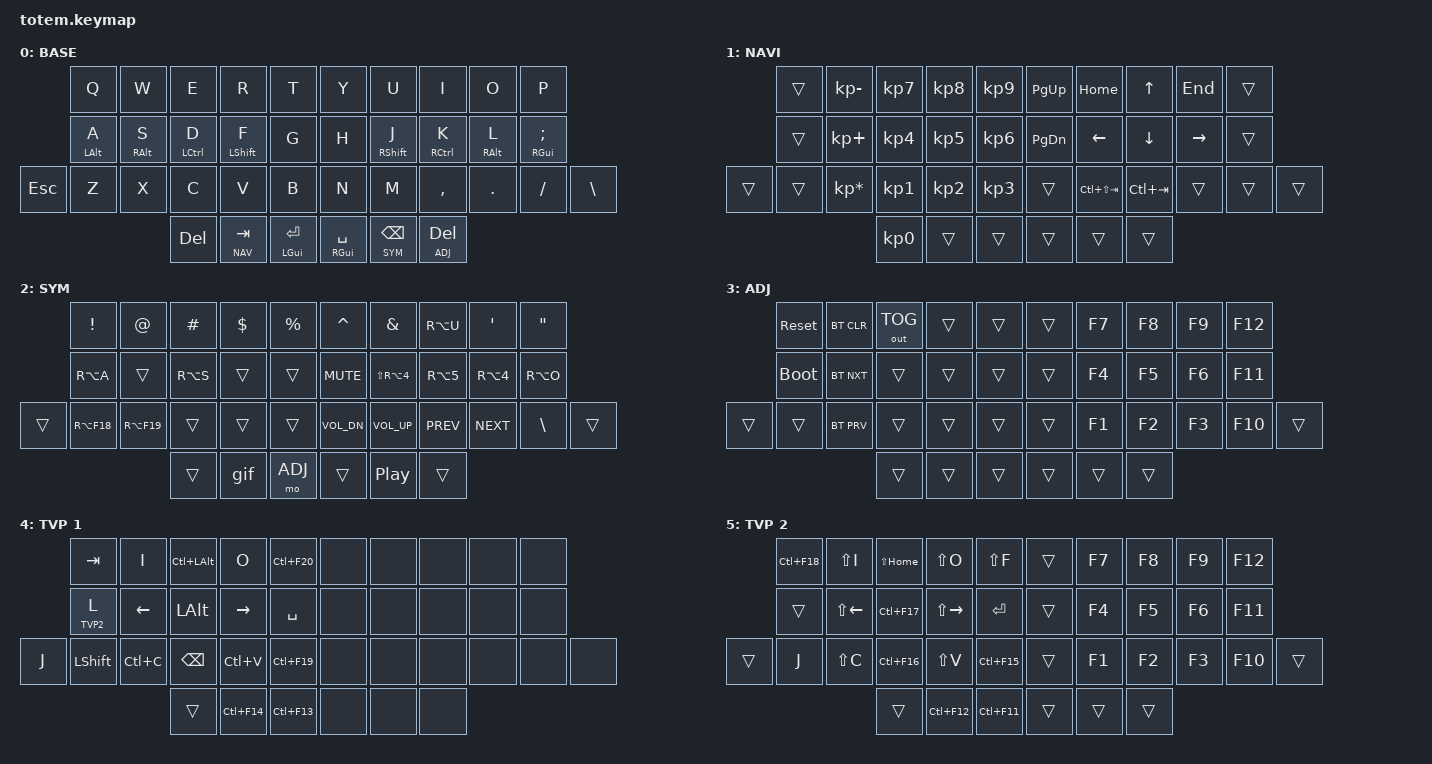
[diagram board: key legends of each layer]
//
//                                                        ▀▀▀▀▀     ▀▀▀▀▀          ▀▀█▀▀
//                                                        ▄▀▀▀▄  ▄  ▄▀▀▀▄  ▄  ▄▀▀▀▄  █  ▄▀▀▀▄
//                                                        █   █  █  █   █  █  █   █  █  █   █
//                                                         ▀▀▀   █   ▀▀▀   █   ▀▀▀   ▀   ▀▀▀
//                                                               █      ▄▄▄█▄▄▄    █   █  
//                                                               ▀      █  █  █     █▄█
//                                                             ▀▀▀▀▀    █  █  █      ▀
//                                                                      ▀  ▀  ▀
//
// ▄▄▄▄▄▄▄▄▄▄▄▄▄▄▄▄▄▄▄▄▄▄▄▄▄▄▄▄▄▄▄▄▄▄▄▄▄▄▄▄▄▄▄▄▄▄▄▄▄▄▄▄▄▄▄▄▄▄▄▄▄▄▄▄▄▄▄▄▄▄▄▄▄▄▄▄▄▄▄▄▄▄▄▄▄▄▄▄▄▄▄▄▄▄▄▄▄▄▄▄▄▄▄▄▄▄▄▄▄▄▄▄▄▄▄▄▄▄▄▄▄▄▄▄▄▄▄▄▄▄▄▄▄▄▄▄▄▄▄▄▄▄▄▄▄▄▄▄▄
       

#include <behaviors.dtsi>
#include <dt-bindings/zmk/keys.h>
#include <dt-bindings/zmk/bt.h>
#include <dt-bindings/zmk/outputs.h>

#define BASE 0
#define NAV  1
#define SYM  2
#define ADJ  3
#define TVP1 4
#define TVP2 5

&mt {
  quick-tap-ms = <100>;
  global-quick-tap;
  flavor = "tap-preferred";
  tapping-term-ms = <170>;
};

/ {
     combos {
            compatible = "zmk,combos";
            combo_esc {
                timeout-ms = <50>;
                key-positions = <0 1>;
                bindings = <&kp ESC>;
            };
            combo_tvp {
                timeout-ms = <100>;
                key-positions = <11 12 13>;
                bindings = <&tog TVP1>;
            };
            combo_open_rectbracket {
                timeout-ms = <50>;
                key-positions = <1 2>;
                bindings = <&kp LBKT>;
            };
            combo_close_rectbracket {
                timeout-ms = <50>;
                key-positions = <2 3>;
                bindings = <&kp RBKT>;
            };
            combo_rect_brackets_cursor_inside {
                timeout-ms = <50>;
                key-positions = <1 3>;
                bindings = <
                    &kp LBKT
                    &kp RBKT
                    &kp LEFT
                >;
            };
            combo_open_bracket {
                timeout-ms = <50>;
                key-positions = <11 12>;
                bindings = <&kp LPAR>;
            };
            combo_close_bracket {
                timeout-ms = <50>;
                key-positions = <12 13>;
                bindings = <&kp RPAR>;
            };
            combo_brackets_cursor_inside {
                timeout-ms = <50>;
                key-positions = <11 13>;
                bindings = <
                    &kp LPAR
                    &kp RPAR
                    &kp LEFT
                >;
            };
            combo_open_brace {
                timeout-ms = <50>;
                key-positions = <22 23>;
                bindings = <&kp LBRC>;
            };
            combo_close_brace {
                timeout-ms = <50>;
                key-positions = <23 24>;
                bindings = <&kp RBRC>;
            };
            combo_braces_cursor_inside {
                timeout-ms = <50>;
                key-positions = <22 24>;
                bindings = <
                    &kp LBRC
                    &kp RBRC
                    &kp LEFT
                >;
            };
    };

    macros {
        gif: gif {
            label = "giphy";
            compatible = "zmk,behavior-macro";
            #binding-cells = <0>;
            bindings
                = <&macro_press &kp LSHFT>
                , <&macro_tap &kp N2>
                , <&macro_release &kp LSHFT>
                , <&macro_tap &kp G &kp I &kp F>
                ;
        };
    };

        keymap {
                compatible = "zmk,keymap";
// ▄▄▄▄▄▄▄▄▄▄▄▄▄▄▄▄▄▄▄▄▄▄▄▄▄▄▄▄▄▄▄▄▄▄▄▄▄▄▄▄▄▄▄▄▄▄▄▄▄▄▄▄▄▄▄▄▄▄▄▄▄▄▄▄▄▄▄▄▄▄▄▄▄▄▄▄▄▄▄▄▄▄▄▄▄▄▄▄▄▄▄▄▄▄▄▄▄▄▄▄▄▄▄▄▄▄▄▄▄▄▄▄▄▄▄▄▄▄▄▄▄▄▄▄▄▄▄▄▄▄▄▄▄▄▄▄▄▄▄▄▄▄▄▄▄▄▄▄▄

                base_layer {
// ┏━━━━━━━━━━━━━━━━━━━━━━━━━━━━━━━━━━━━━━━┓
label= "BASE"                              ;
// ┗━━━━━━━━━━━━━━━━━━━━━━━━━━━━━━━━━━━━━━━┛
//             ┏━━━━━━━━━━━┳━━━━━━━━━━━┳━━━━━━━━━━━┳━━━━━━━━━━━┳━━━━━━━━━━━┓   ┏━━━━━━━━━━━┳━━━━━━━━━━━┳━━━━━━━━━━━┳━━━━━━━━━━━┳━━━━━━━━━━━┓
//             ┃     Q     ┃     W     ┃     E     ┃     R     ┃     T     ┃   ┃     Y     ┃     U     ┃     I     ┃     O     ┃     P     ┃
//             ┣━━━━━━━━━━━╋━━━━━━━━━━━╋━━━━━━━━━━━╋━━━━━━━━━━━╋━━━━━━━━━━━┫   ┣━━━━━━━━━━━╋━━━━━━━━━━━╋━━━━━━━━━━━╋━━━━━━━━━━━╋━━━━━━━━━━━┫
//             ┃     A     ┃     S     ┃     D     ┃     F     ┃     G     ┃   ┃     H     ┃     J     ┃     K     ┃     L     ┃     ;     ┃
// ┏━━━━━━━━━━━╋━━━━━━━━━━━╋━━━━━━━━━━━╋━━━━━━━━━━━╋━━━━━━━━━━━╋━━━━━━━━━━━┫   ┣━━━━━━━━━━━╋━━━━━━━━━━━╋━━━━━━━━━━━╋━━━━━━━━━━━╋━━━━━━━━━━━╋━━━━━━━━━━━┓
// ┃    ESC    ┃     Z     ┃     X     ┃     C     ┃     V     ┃     B     ┃   ┃     N     ┃     M     ┃     ,     ┃     .     ┃     /     ┃     \     ┃
// ┗━━━━━━━━━━━┻━━━━━━━━━━━┻━━━━━━━━━━━╋━━━━━━━━━━━╋━━━━━━━━━━━╋━━━━━━━━━━━┫   ┣━━━━━━━━━━━╋━━━━━━━━━━━╋━━━━━━━━━━━╋━━━━━━━━━━━┻━━━━━━━━━━━┻━━━━━━━━━━━┛
//                                     ┃    DEL    ┃    TAB    ┃   ENTER   ┃   ┃    SPC    ┃    BSPC   ┃    DEL    ┃
//                                     ┗━━━━━━━━━━━┻━━━━━━━━━━━┻━━━━━━━━━━━┛   ┗━━━━━━━━━━━┻━━━━━━━━━━━┻━━━━━━━━━━━┛
 bindings = <
// ╷           ╷           ╷           ╷           ╷           ╷           ╷   ╷           ╷           ╷           ╷           ╷           ╷           ╷

                &kp Q       &kp W       &kp E       &kp R       &kp T           &kp Y       &kp U       &kp I       &kp O       &kp P
                &mt LALT A  &mt RALT S  &mt LCTRL D &mt LSHFT F &kp G           &kp H       &mt RSHFT J &mt RCTRL K &mt RALT L  &mt RGUI SEMI
    &kp ESC       &kp Z       &kp X       &kp C       &kp V       &kp B         &kp  N       &kp M       &kp COMMA   &kp DOT     &kp FSLH    &kp BSLH
                                        &kp DEL     &lt NAV TAB &mt LGUI RET   &mt RGUI SPACE &lt SYM BSPC  &lt ADJ DEL
                        >;
                };

// ▄▄▄▄▄▄▄▄▄▄▄▄▄▄▄▄▄▄▄▄▄▄▄▄▄▄▄▄▄▄▄▄▄▄▄▄▄▄▄▄▄▄▄▄▄▄▄▄▄▄▄▄▄▄▄▄▄▄▄▄▄▄▄▄▄▄▄▄▄▄▄▄▄▄▄▄▄▄▄▄▄▄▄▄▄▄▄▄▄▄▄▄▄▄▄▄▄▄▄▄▄▄▄▄▄▄▄▄▄▄▄▄▄▄▄▄▄▄▄▄▄▄▄▄▄▄▄▄▄▄▄▄▄▄▄▄▄▄▄▄▄▄▄▄▄▄▄▄▄


                nav_layer {
// ┏━━━━━━━━━━━━━━━━━━━━━━━━━━━━━━━━━━━━━━━┓
label= "NAVI"                              ;
// ┗━━━━━━━━━━━━━━━━━━━━━━━━━━━━━━━━━━━━━━━┛
//             ┏━━━━━━━━━━━┳━━━━━━━━━━━┳━━━━━━━━━━━┳━━━━━━━━━━━┳━━━━━━━━━━━┓   ┏━━━━━━━━━━━┳━━━━━━━━━━━┳━━━━━━━━━━━┳━━━━━━━━━━━┳━━━━━━━━━━━┓
//             ┃           ┃     -     ┃     7     ┃     8     ┃     9     ┃   ┃    PgUp   ┃   HOME    ┃     UP    ┃    END    ┃           ┃
//             ┣━━━━━━━━━━━╋━━━━━━━━━━━╋━━━━━━━━━━━╋━━━━━━━━━━━╋━━━━━━━━━━━┫   ┣━━━━━━━━━━━╋━━━━━━━━━━━╋━━━━━━━━━━━╋━━━━━━━━━━━╋━━━━━━━━━━━┫
//             ┃           ┃     +     ┃     4     ┃     5     ┃     6     ┃   ┃    PgDn   ┃   Left    ┃    DOWN   ┃   RIGHT   ┃           ┃
// ┏━━━━━━━━━━━╋━━━━━━━━━━━╋━━━━━━━━━━━╋━━━━━━━━━━━╋━━━━━━━━━━━╋━━━━━━━━━━━┫   ┣━━━━━━━━━━━╋━━━━━━━━━━━╋━━━━━━━━━━━╋━━━━━━━━━━━╋━━━━━━━━━━━╋━━━━━━━━━━━┓
// ┃           ┃           ┃     *     ┃     1     ┃     2     ┃     3     ┃   ┃           ┃ PrevTab   ┃ NextTab   ┃           ┃           ┃           ┃
// ┗━━━━━━━━━━━┻━━━━━━━━━━━┻━━━━━━━━━━━╋━━━━━━━━━━━╋━━━━━━━━━━━╋━━━━━━━━━━━┫   ┣━━━━━━━━━━━╋━━━━━━━━━━━╋━━━━━━━━━━━╋━━━━━━━━━━━┻━━━━━━━━━━━┻━━━━━━━━━━━┛
//                                     ┃     0     ┃           ┃           ┃   ┃           ┃           ┃           ┃
//                                     ┗━━━━━━━━━━━┻━━━━━━━━━━━┻━━━━━━━━━━━┛   ┗━━━━━━━━━━━┻━━━━━━━━━━━┻━━━━━━━━━━━┛
 bindings = <
// ╷           ╷           ╷           ╷           ╷           ╷           ╷   ╷           ╷           ╷           ╷           ╷           ╷           ╷

                &trans      &kp KP_MINUS   &kp KP_N7 &kp KP_N8   &kp KP_N9        &kp PG_UP  &kp HOME    &kp UP       &kp END   &trans
                &trans      &kp KP_PLUS    &kp KP_N4 &kp KP_N5   &kp KP_N6        &kp PG_DN  &kp LEFT    &kp DOWN     &kp RIGHT &trans
    &trans      &trans      &kp KP_MULTIPLY &kp KP_N1 &kp KP_N2  &kp KP_N3        &trans     &kp LC(LS(TAB)) &kp LC(TAB) &trans    &trans        &trans      
                                        &kp KP_N0   &trans       &trans           &trans      &trans       &trans      
                        >;
                };

// ▄▄▄▄▄▄▄▄▄▄▄▄▄▄▄▄▄▄▄▄▄▄▄▄▄▄▄▄▄▄▄▄▄▄▄▄▄▄▄▄▄▄▄▄▄▄▄▄▄▄▄▄▄▄▄▄▄▄▄▄▄▄▄▄▄▄▄▄▄▄▄▄▄▄▄▄▄▄▄▄▄▄▄▄▄▄▄▄▄▄▄▄▄▄▄▄▄▄▄▄▄▄▄▄▄▄▄▄▄▄▄▄▄▄▄▄▄▄▄▄▄▄▄▄▄▄▄▄▄▄▄▄▄▄▄▄▄▄▄▄▄▄▄▄▄▄▄▄▄


                sim_layer {
// ┏━━━━━━━━━━━━━━━━━━━━━━━━━━━━━━━━━━━━━━━┓
label= "SYM"                               ;
// ┗━━━━━━━━━━━━━━━━━━━━━━━━━━━━━━━━━━━━━━━┛
//             ┏━━━━━━━━━━━┳━━━━━━━━━━━┳━━━━━━━━━━━┳━━━━━━━━━━━┳━━━━━━━━━━━┓   ┏━━━━━━━━━━━┳━━━━━━━━━━━┳━━━━━━━━━━━┳━━━━━━━━━━━┳━━━━━━━━━━━┓
//             ┃     !     ┃     @     ┃     #     ┃     $     ┃     %     ┃   ┃     ˆ     ┃     &     ┃     Ü     ┃     '     ┃     "     ┃
//             ┣━━━━━━━━━━━╋━━━━━━━━━━━╋━━━━━━━━━━━╋━━━━━━━━━━━╋━━━━━━━━━━━┫   ┣━━━━━━━━━━━╋━━━━━━━━━━━╋━━━━━━━━━━━╋━━━━━━━━━━━╋━━━━━━━━━━━┫
//             ┃     Ä     ┃           ┃    SZ     ┃           ┃           ┃   ┃   MUTE    ┃   YEN     ┃   EURO    ┃  POUND    ┃     Ö     ┃
// ┏━━━━━━━━━━━╋━━━━━━━━━━━╋━━━━━━━━━━━╋━━━━━━━━━━━╋━━━━━━━━━━━╋━━━━━━━━━━━┫   ┣━━━━━━━━━━━╋━━━━━━━━━━━╋━━━━━━━━━━━╋━━━━━━━━━━━╋━━━━━━━━━━━╋━━━━━━━━━━━┓
// ┃           ┃  EMAIL1   ┃  EMAIL2   ┃           ┃           ┃           ┃   ┃   VOL-    ┃   VOL+    ┃   LAST    ┃   NEXT    ┃     \     ┃           ┃
// ┗━━━━━━━━━━━┻━━━━━━━━━━━┻━━━━━━━━━━━╋━━━━━━━━━━━╋━━━━━━━━━━━╋━━━━━━━━━━━┫   ┣━━━━━━━━━━━╋━━━━━━━━━━━╋━━━━━━━━━━━╋━━━━━━━━━━━┻━━━━━━━━━━━┻━━━━━━━━━━━┛
//                                     ┃           ┃    GIF    ┃    ADJ    ┃   ┃           ┃           ┃           ┃
//                                     ┗━━━━━━━━━━━┻━━━━━━━━━━━┻━━━━━━━━━━━┛   ┗━━━━━━━━━━━┻━━━━━━━━━━━┻━━━━━━━━━━━┛
 bindings = <
// ╷           ╷           ╷           ╷           ╷           ╷           ╷   ╷           ╷           ╷           ╷           ╷           ╷           ╷

                &kp EXCL    &kp AT      &kp HASH    &kp DLLR    &kp PRCNT       &kp CARET   &kp AMPS    &kp RA(U)   &kp SQT     &kp DQT       
                &kp RA(A)   &trans      &kp RA(S)   &trans      &trans          &kp C_MUTE  &kp LS(RA(N4)) &kp RA(N5) &kp RA(N4)   &kp RA(O) 
    &trans      &kp RA(F18) &kp RA(F19) &trans      &trans      &trans          &kp C_VOL_DN &kp C_VOL_UP &kp C_PREV &kp C_NEXT  &kp BSLH   &trans         
                                        &trans      &gif        &mo ADJ         &trans      &kp C_PP    &trans      
                        >;
                };

// ▄▄▄▄▄▄▄▄▄▄▄▄▄▄▄▄▄▄▄▄▄▄▄▄▄▄▄▄▄▄▄▄▄▄▄▄▄▄▄▄▄▄▄▄▄▄▄▄▄▄▄▄▄▄▄▄▄▄▄▄▄▄▄▄▄▄▄▄▄▄▄▄▄▄▄▄▄▄▄▄▄▄▄▄▄▄▄▄▄▄▄▄▄▄▄▄▄▄▄▄▄▄▄▄▄▄▄▄▄▄▄▄▄▄▄▄▄▄▄▄▄▄▄▄▄▄▄▄▄▄▄▄▄▄▄▄▄▄▄▄▄▄▄▄▄▄▄▄▄

 
                adjust_layer {
// ┏━━━━━━━━━━━━━━━━━━━━━━━━━━━━━━━━━━━━━━━┓
label= "ADJ"                               ;
// ┗━━━━━━━━━━━━━━━━━━━━━━━━━━━━━━━━━━━━━━━┛
//             ┏━━━━━━━━━━━┳━━━━━━━━━━━┳━━━━━━━━━━━┳━━━━━━━━━━━┳━━━━━━━━━━━┓   ┏━━━━━━━━━━━┳━━━━━━━━━━━┳━━━━━━━━━━━┳━━━━━━━━━━━┳━━━━━━━━━━━┓
//             ┃   RESET   ┃ BT CLEAR  ┃  OUT TOG  ┃           ┃           ┃   ┃           ┃    F7     ┃    F8     ┃    F9     ┃    F12    ┃
//             ┣━━━━━━━━━━━╋━━━━━━━━━━━╋━━━━━━━━━━━╋━━━━━━━━━━━╋━━━━━━━━━━━┫   ┣━━━━━━━━━━━╋━━━━━━━━━━━╋━━━━━━━━━━━╋━━━━━━━━━━━╋━━━━━━━━━━━┫
//             ┃ BOOTLOAD  ┃ BT NEXT   ┃           ┃           ┃           ┃   ┃           ┃    F4     ┃    F5     ┃    F6     ┃    F11    ┃
// ┏━━━━━━━━━━━╋━━━━━━━━━━━╋━━━━━━━━━━━╋━━━━━━━━━━━╋━━━━━━━━━━━╋━━━━━━━━━━━┫   ┣━━━━━━━━━━━╋━━━━━━━━━━━╋━━━━━━━━━━━╋━━━━━━━━━━━╋━━━━━━━━━━━╋━━━━━━━━━━━┓
// ┃           ┃           ┃ BT PREV   ┃           ┃           ┃           ┃   ┃           ┃    F1     ┃    F2     ┃    F3     ┃    F10    ┃           ┃
// ┗━━━━━━━━━━━┻━━━━━━━━━━━┻━━━━━━━━━━━╋━━━━━━━━━━━╋━━━━━━━━━━━╋━━━━━━━━━━━┫   ┣━━━━━━━━━━━╋━━━━━━━━━━━╋━━━━━━━━━━━╋━━━━━━━━━━━┻━━━━━━━━━━━┻━━━━━━━━━━━┛
//                                     ┃           ┃           ┃           ┃   ┃           ┃           ┃           ┃
//                                     ┗━━━━━━━━━━━┻━━━━━━━━━━━┻━━━━━━━━━━━┛   ┗━━━━━━━━━━━┻━━━━━━━━━━━┻━━━━━━━━━━━┛
 bindings = <
// ╷           ╷           ╷           ╷           ╷           ╷           ╷   ╷           ╷           ╷           ╷           ╷           ╷           ╷

                &sys_reset  &bt BT_CLR &out OUT_TOG &trans      &trans          &trans      &kp F7      &kp F8      &kp F9      &kp F12
                &bootloader &bt BT_NXT  &trans      &trans      &trans          &trans      &kp F4      &kp F5      &kp F6      &kp F11  
    &trans      &trans      &bt BT_PRV  &trans      &trans      &trans          &trans      &kp F1      &kp F2      &kp F3      &kp F10     &trans         
                                        &trans      &trans      &trans          &trans      &trans      &trans      
                        >;
                };

// ▄▄▄▄▄▄▄▄▄▄▄▄▄▄▄▄▄▄▄▄▄▄▄▄▄▄▄▄▄▄▄▄▄▄▄▄▄▄▄▄▄▄▄▄▄▄▄▄▄▄▄▄▄▄▄▄▄▄▄▄▄▄▄▄▄▄▄▄▄▄▄▄▄▄▄▄▄▄▄▄▄▄▄▄▄▄▄▄▄▄▄▄▄▄▄▄▄▄▄▄▄▄▄▄▄▄▄▄▄▄▄▄▄▄▄▄▄▄▄▄▄▄▄▄▄▄▄▄▄▄▄▄▄▄▄▄▄▄▄▄▄▄▄▄▄▄▄▄▄


                tvp1_layer {
// ┏━━━━━━━━━━━━━━━━━━━━━━━━━━━━━━━━━━━━━━━┓
label= "TVP 1"                             ;
// ┗━━━━━━━━━━━━━━━━━━━━━━━━━━━━━━━━━━━━━━━┛
//             ┏━━━━━━━━━━━┳━━━━━━━━━━━┳━━━━━━━━━━━┳━━━━━━━━━━━┳━━━━━━━━━━━┓   ┏━━━━━━━━━━━┳━━━━━━━━━━━┳━━━━━━━━━━━┳━━━━━━━━━━━┳━━━━━━━━━━━┓
//             ┃ NEXT FILE ┃ MARK IN   ┃ ROTATE    ┃ MARK OUT  ┃ SHOW SNAP ┃   ┃           ┃           ┃           ┃           ┃           ┃
//             ┣━━━━━━━━━━━╋━━━━━━━━━━━╋━━━━━━━━━━━╋━━━━━━━━━━━╋━━━━━━━━━━━┫   ┣━━━━━━━━━━━╋━━━━━━━━━━━╋━━━━━━━━━━━╋━━━━━━━━━━━╋━━━━━━━━━━━┫
//             ┃ TVP II    ┃ LEFT      ┃ PAN       ┃ RIGHT     ┃ PLAY/FLIP ┃   ┃           ┃           ┃           ┃           ┃           ┃
// ┏━━━━━━━━━━━╋━━━━━━━━━━━╋━━━━━━━━━━━╋━━━━━━━━━━━╋━━━━━━━━━━━╋━━━━━━━━━━━┫   ┣━━━━━━━━━━━╋━━━━━━━━━━━╋━━━━━━━━━━━╋━━━━━━━━━━━╋━━━━━━━━━━━╋━━━━━━━━━━━┓
// ┃ FULLSCR   ┃ SHIFT     ┃ COPY      ┃ DELETE    ┃ PASTE     ┃ IMG MARK  ┃   ┃           ┃           ┃           ┃           ┃           ┃           ┃
// ┗━━━━━━━━━━━┻━━━━━━━━━━━┻━━━━━━━━━━━╋━━━━━━━━━━━╋━━━━━━━━━━━╋━━━━━━━━━━━┫   ┣━━━━━━━━━━━╋━━━━━━━━━━━╋━━━━━━━━━━━╋━━━━━━━━━━━┻━━━━━━━━━━━┻━━━━━━━━━━━┛
//                                     ┃           ┃ UNDO/SAVE ┃  SEL/MOV  ┃   ┃           ┃           ┃           ┃
//                                     ┗━━━━━━━━━━━┻━━━━━━━━━━━┻━━━━━━━━━━━┛   ┗━━━━━━━━━━━┻━━━━━━━━━━━┻━━━━━━━━━━━┛
 bindings = <
// ╷           ╷           ╷           ╷           ╷           ╷           ╷   ╷           ╷           ╷           ╷           ╷           ╷           ╷

                &kp TAB     &kp I       &kp LC(LALT) &kp O      &kp LC(F20)     &none       &none       &none       &none       &none
                &lt TVP2 L  &kp LEFT    &kp LALT    &kp RIGHT   &kp SPACE       &none       &none       &none       &none       &none
    &kp J       &kp LSHFT   &kp LC(C)   &kp BSPC    &kp LC(V)   &kp LC(F19)     &none       &none       &none       &none       &none       &none        
                                        &trans      &kp LC(F14) &kp LC(F13)     &none       &none       &none    
                        >;
                };

// ▄▄▄▄▄▄▄▄▄▄▄▄▄▄▄▄▄▄▄▄▄▄▄▄▄▄▄▄▄▄▄▄▄▄▄▄▄▄▄▄▄▄▄▄▄▄▄▄▄▄▄▄▄▄▄▄▄▄▄▄▄▄▄▄▄▄▄▄▄▄▄▄▄▄▄▄▄▄▄▄▄▄▄▄▄▄▄▄▄▄▄▄▄▄▄▄▄▄▄▄▄▄▄▄▄▄▄▄▄▄▄▄▄▄▄▄▄▄▄▄▄▄▄▄▄▄▄▄▄▄▄▄▄▄▄▄▄▄▄▄▄▄▄▄▄▄▄▄▄


                tvp2_layer {
// ┏━━━━━━━━━━━━━━━━━━━━━━━━━━━━━━━━━━━━━━━┓
label= "TVP 2"                             ;
// ┗━━━━━━━━━━━━━━━━━━━━━━━━━━━━━━━━━━━━━━━┛
//             ┏━━━━━━━━━━━┳━━━━━━━━━━━┳━━━━━━━━━━━┳━━━━━━━━━━━┳━━━━━━━━━━━┓   ┏━━━━━━━━━━━┳━━━━━━━━━━━┳━━━━━━━━━━━┳━━━━━━━━━━━┳━━━━━━━━━━━┓
//             ┃ SOLO      ┃ TOGGLE IN ┃ RESET ROT ┃ TOGGLE OUT┃ TAKE SNAP ┃   ┃           ┃           ┃           ┃           ┃           ┃
//             ┣━━━━━━━━━━━╋━━━━━━━━━━━╋━━━━━━━━━━━╋━━━━━━━━━━━╋━━━━━━━━━━━┫   ┣━━━━━━━━━━━╋━━━━━━━━━━━╋━━━━━━━━━━━╋━━━━━━━━━━━╋━━━━━━━━━━━┫
//             ┃ ---       ┃ LAST KEY  ┃ NEW KEY   ┃ NEXT KEY  ┃ ENTER     ┃   ┃           ┃           ┃           ┃           ┃           ┃
// ┏━━━━━━━━━━━╋━━━━━━━━━━━╋━━━━━━━━━━━╋━━━━━━━━━━━╋━━━━━━━━━━━╋━━━━━━━━━━━┫   ┣━━━━━━━━━━━╋━━━━━━━━━━━╋━━━━━━━━━━━╋━━━━━━━━━━━╋━━━━━━━━━━━╋━━━━━━━━━━━┓
// ┃           ┃ FULLSCR   ┃ CPY2BRUSH ┃ DEL HEAD  ┃ PSTinPLACE┃ BOOK MARK ┃   ┃           ┃           ┃           ┃           ┃           ┃           ┃
// ┗━━━━━━━━━━━┻━━━━━━━━━━━┻━━━━━━━━━━━╋━━━━━━━━━━━╋━━━━━━━━━━━╋━━━━━━━━━━━┫   ┣━━━━━━━━━━━╋━━━━━━━━━━━╋━━━━━━━━━━━╋━━━━━━━━━━━┻━━━━━━━━━━━┻━━━━━━━━━━━┛
//                                     ┃           ┃ REDO/SAV1 ┃TRANS/WARP ┃   ┃           ┃           ┃           ┃
//                                     ┗━━━━━━━━━━━┻━━━━━━━━━━━┻━━━━━━━━━━━┛   ┗━━━━━━━━━━━┻━━━━━━━━━━━┻━━━━━━━━━━━┛
 bindings = <
// ╷           ╷           ╷           ╷           ╷           ╷           ╷   ╷           ╷           ╷           ╷           ╷           ╷           ╷

                &kp LC(F18) &kp LS(I)  &kp LS(HOME) &kp LS(O)   &kp LS(F)       &trans      &kp F7      &kp F8      &kp F9      &kp F12
                &trans      &kp LS(LEFT) &kp LC(F17) &kp LS(RIGHT) &kp RET      &trans      &kp F4      &kp F5      &kp F6      &kp F11  
    &trans      &kp J       &kp LS(C)   &kp LC(F16) &kp LS(V)   &kp LC(F15)     &trans      &kp F1      &kp F2      &kp F3      &kp F10     &trans         
                                        &trans      &kp LC(F12) &kp LC(F11)     &trans      &trans      &trans      
                        >;
                };
        };
};







////                nav_layer {
//// ┏━━━━━━━━━━━━━━━━━━━━━━━━━━━━━━━━━━━━━━━┓
//label= "NAVI"                              ;
//// ┗━━━━━━━━━━━━━━━━━━━━━━━━━━━━━━━━━━━━━━━┛
////             ┏━━━━━━━━━━━┳━━━━━━━━━━━┳━━━━━━━━━━━┳━━━━━━━━━━━┳━━━━━━━━━━━┓   ┏━━━━━━━━━━━┳━━━━━━━━━━━┳━━━━━━━━━━━┳━━━━━━━━━━━┳━━━━━━━━━━━┓
////             ┃           ┃           ┃     UP    ┃           ┃     {     ┃   ┃     }     ┃     7     ┃     8     ┃     9     ┃     +     ┃
////             ┣━━━━━━━━━━━╋━━━━━━━━━━━╋━━━━━━━━━━━╋━━━━━━━━━━━╋━━━━━━━━━━━┫   ┣━━━━━━━━━━━╋━━━━━━━━━━━╋━━━━━━━━━━━╋━━━━━━━━━━━╋━━━━━━━━━━━┫
////             ┃   SHIFT   ┃   LEFT    ┃    DOWN   ┃   RIGHT   ┃     [     ┃   ┃     ]     ┃     4     ┃     5     ┃     6     ┃     -     ┃
//// ┏━━━━━━━━━━━╋━━━━━━━━━━━╋━━━━━━━━━━━╋━━━━━━━━━━━╋━━━━━━━━━━━╋━━━━━━━━━━━┫   ┣━━━━━━━━━━━╋━━━━━━━━━━━╋━━━━━━━━━━━╋━━━━━━━━━━━╋━━━━━━━━━━━╋━━━━━━━━━━━┓
//// ┃           ┃           ┃   P UP    ┃  C LOCK   ┃  P DOWN   ┃     (     ┃   ┃     )     ┃     1     ┃     2     ┃     3     ┃     *     ┃           ┃
//// ┗━━━━━━━━━━━┻━━━━━━━━━━━┻━━━━━━━━━━━╋━━━━━━━━━━━╋━━━━━━━━━━━╋━━━━━━━━━━━┫   ┣━━━━━━━━━━━╋━━━━━━━━━━━╋━━━━━━━━━━━╋━━━━━━━━━━━┻━━━━━━━━━━━┻━━━━━━━━━━━┛
////                                     ┃           ┃    TAB    ┃    SPC    ┃   ┃    DEL    ┃     0     ┃           ┃
////                                     ┗━━━━━━━━━━━┻━━━━━━━━━━━┻━━━━━━━━━━━┛   ┗━━━━━━━━━━━┻━━━━━━━━━━━┻━━━━━━━━━━━┛
// bindings = <
//// ╷           ╷           ╷           ╷           ╷           ╷           ╷   ╷           ╷           ╷           ╷           ╷           ╷           ╷
//
//                &kp ESC     &bt BT_CLR  &kp UP      &kp EQUAL   &kp LBRC        &kp RBRC    &kp KP_N7   &kp KP_N8   &kp KP_N9   &kp KP_PLUS
//                &kp LSHFT   &kp LEFT    &kp DOWN    &kp RIGHT   &kp LBKT        &kp RBKT    &kp KP_N4   &kp KP_N5   &kp KP_N6   &kp KP_MINUS
//    &trans      &kp DEL     &kp PG_UP   &kp CAPS    &kp PG_DN   &kp LPAR        &kp RPAR    &kp KP_N1   &kp KP_N2   &kp KP_N3   &kp KP_MULTIPLY &trans      
//                                        &trans      &trans      &trans          &mo ADJ     &kp KP_N0   &trans      
//                        >;
//                };
